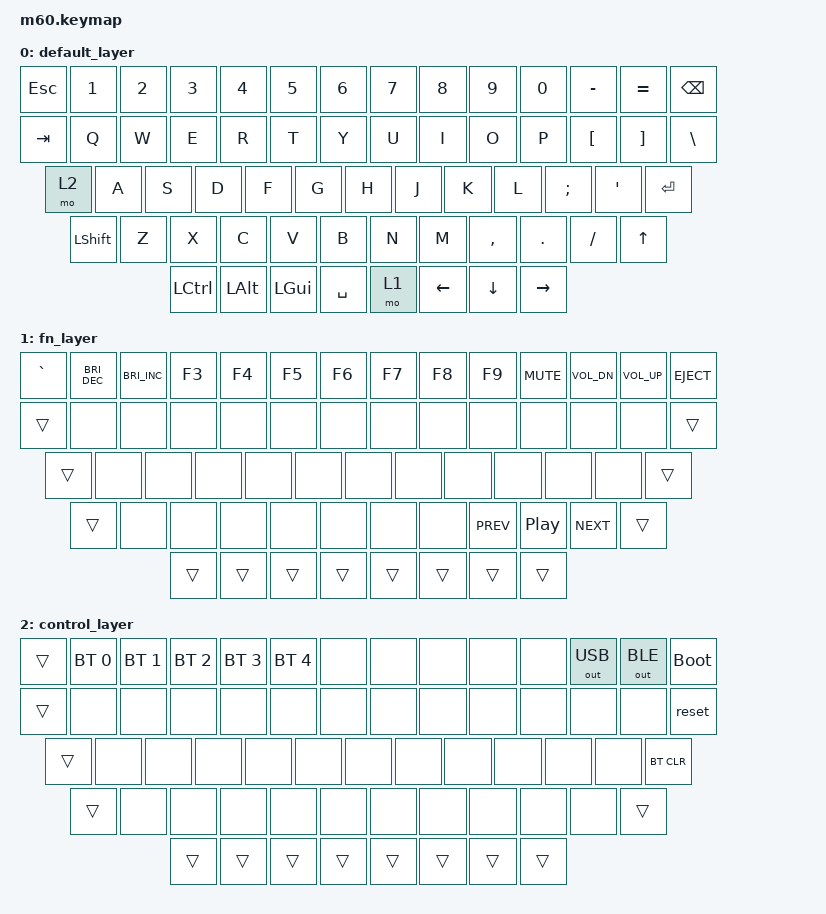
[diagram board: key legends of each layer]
/*
 * Copyright (c) 2020 The ZMK Contributors
 *
 * SPDX-License-Identifier: MIT
 */

#include <behaviors.dtsi>
#include <dt-bindings/zmk/keys.h>
#include <dt-bindings/zmk/bt.h>
#include <dt-bindings/zmk/outputs.h>

/ {
	keymap0: keymap {
		compatible = "zmk,keymap";

		default_layer {
// ------------------------------------------------------------------------------------------
// | ESC |  1  |  2  |  3  |  4  |  5  |  6  |  7  |  8  |  9  |  0  |  -  |  =  |   BKSP   |
// | TAB  |  Q  |  W  |  E  |  R  |  T  |  Y  |  U  |  I  |  O  |  P  |  [  |  ]  |    \    |
// | MO(2) |  A  |  S  |  D  |  F  |  G  |  H  |  J  |  K  |  L  |  ;  |  '  |     ENTER    |
// |  SHIFT  |  Z  |  X  |  C  |  V  |  B  |  N  |  M  |  ,  |  .  |  /  |        UP        |
// |  CTL  |  WIN  |  ALT  |            SPACE              | MO(1) | LEFT |  DOWN  | RIGHT  |
// ------------------------------------------------------------------------------------------
			bindings = <
	&kp ESC &kp N1 &kp N2 &kp N3 &kp N4 &kp N5 &kp N6 &kp N7 &kp   N8  &kp  N9 &kp  N0  &kp MINUS &kp EQUAL &kp BSPC
	&kp TAB  &kp Q  &kp W  &kp E  &kp R  &kp T  &kp Y  &kp U  &kp   I   &kp  O  &kp   P  &kp LBKT &kp RBKT  &kp BSLH
	&mo   2   &kp A  &kp S  &kp D  &kp F  &kp G  &kp H  &kp J  &kp   K   &kp  L  &kp SEMI &kp SQT           &kp RET
	&kp LSHFT  &kp Z  &kp X  &kp C  &kp V  &kp B  &kp N  &kp M  &kp COMMA &kp DOT &kp FSLH         &kp UP
	&kp LCTRL &kp LALT &kp LGUI               &kp SPACE                 &mo  1    &kp LEFT  &kp  DOWN  &kp  RIGHT
			>;
		};

		fn_layer {
			bindings = <
&kp GRAVE  &kp C_BRI_DEC   &kp C_BRI_INC   &kp F3   &kp F4   &kp F5   &kp F6   &kp F7   &kp F8   &kp F9   &kp C_MUTE  &kp C_VOL_DN  &kp C_VOL_UP  &kp C_EJECT
&trans         &none      &none      &none      &none      &none      &none      &none      &none      &none      &none      &none      &none      &trans
&trans           &none     &none     &none     &none     &none     &none     &none     &none     &none     &none      &none      &trans
&trans              &none     &none     &none      &none      &none      &none      &none     &kp C_PREV   &kp C_PP   &kp C_NEXT    &trans
&trans       &trans       &trans                                     &trans                                       &trans     &trans     &trans     &trans
			>;
		};

		control_layer {
			bindings = <
&trans &bt BT_SEL 0  &bt BT_SEL 1 &bt BT_SEL 2 &bt BT_SEL 3 &bt BT_SEL 4   &none   &none   &none   &none   &none   &out OUT_USB &out OUT_BLE   &bootloader
&trans         &none      &none      &none      &none      &none      &none      &none      &none      &none      &none      &none      &none      &reset
&trans           &none     &none     &none     &none     &none     &none     &none     &none     &none     &none      &none      &bt BT_CLR 
&trans              &none     &none     &none      &none      &none      &none      &none      &none      &none      &none      &trans
&trans       &trans       &trans                                     &trans                                       &trans     &trans     &trans     &trans
			>;
		};
	};
};
